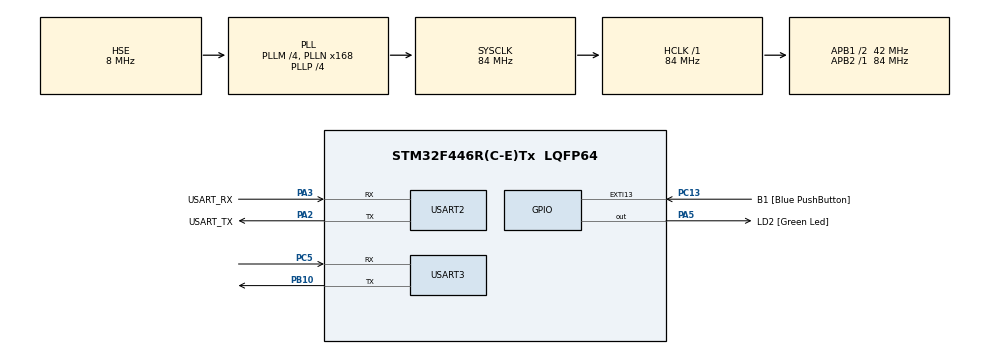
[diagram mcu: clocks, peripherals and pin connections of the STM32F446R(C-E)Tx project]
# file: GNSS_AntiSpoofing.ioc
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Mcu.Family=STM32F4
Mcu.Name=STM32F446R(C-E)Tx
Mcu.Package=LQFP64
NVIC.PriorityGroup=NVIC_PRIORITYGROUP_0
NVIC.USART2_IRQn=true\:0\:0\:false\:false\:true\:true\:true\:true
PA13.GPIO_Label=TMS
PA13.Mode=Serial_Wire
PA13.Signal=SYS_JTMS-SWDIO
PA14.GPIO_Label=TCK
PA14.Mode=Serial_Wire
PA14.Signal=SYS_JTCK-SWCLK
PA2.GPIO_Label=USART_TX
PA2.Mode=Asynchronous
PA2.Signal=USART2_TX
PA3.GPIO_Label=USART_RX
PA3.Mode=Asynchronous
PA3.Signal=USART2_RX
PA5.GPIO_Label=LD2 [Green Led]
PA5.Signal=GPIO_Output
PB10.Mode=Asynchronous
PB10.Signal=USART3_TX
PB3.GPIO_Label=SWO
PB3.Signal=SYS_JTDO-SWO
PC13.GPIO_Label=B1 [Blue PushButton]
PC13.GPIO_ModeDefaultEXTI=GPIO_MODE_IT_FALLING
PC13.Signal=GPXTI13
PC14-OSC32_IN.Mode=LSE-External-Oscillator
PC14-OSC32_IN.Signal=RCC_OSC32_IN
PC15-OSC32_OUT.Mode=LSE-External-Oscillator
PC15-OSC32_OUT.Signal=RCC_OSC32_OUT
PC5.Mode=Asynchronous
PC5.Signal=USART3_RX
PH0-OSC_IN.Mode=HSE-External-Oscillator
PH0-OSC_IN.Signal=RCC_OSC_IN
PH1-OSC_OUT.Mode=HSE-External-Oscillator
PH1-OSC_OUT.Signal=RCC_OSC_OUT
ProjectManager.HeapSize=0x200
ProjectManager.StackSize=0x400
ProjectManager.TargetToolchain=STM32CubeIDE
RCC.48MHZClocksFreq_Value=84000000
RCC.AHBFreq_Value=84000000
RCC.APB1CLKDivider=RCC_HCLK_DIV2
RCC.APB1Freq_Value=42000000
RCC.APB1TimFreq_Value=84000000
RCC.APB2Freq_Value=84000000
RCC.APB2TimFreq_Value=84000000
RCC.CortexFreq_Value=84000000
RCC.FLatency-AdvancedSettings=FLASH_LATENCY_2
RCC.HCLKFreq_Value=84000000
RCC.HSE_VALUE=8000000
RCC.HSI_VALUE=16000000
RCC.PLLM=4
RCC.PLLN=168
RCC.PLLP=RCC_PLLP_DIV4
RCC.PLLSourceVirtual=RCC_PLLSOURCE_HSE
RCC.SYSCLKFreq_VALUE=84000000
RCC.SYSCLKSource=RCC_SYSCLKSOURCE_PLLCLK
RCC.USBFreq_Value=168000000
RCC.VCOOutputFreq_Value=336000000
USART2.VirtualMode=VM_ASYNC
USART3.VirtualMode=VM_ASYNC
board=NUCLEO-F446RE

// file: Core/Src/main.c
/* USER CODE BEGIN Header */
/**
  ******************************************************************************
  * @file           : main.c
  * @brief          : Main program body
  ******************************************************************************
  * @attention
  *
  * Copyright (c) 2026 STMicroelectronics.
  * All rights reserved.
  *
  * This software is licensed under terms that can be found in the LICENSE file
  * in the root directory of this software component.
  * If no LICENSE file comes with this software, it is provided AS-IS.
  *
  ******************************************************************************
  */
/* USER CODE END Header */
#include "main.h"

/* USER CODE BEGIN Includes */
#include "utils.h"
#include "parser.h"
#include "NOVATEL_OEM615.h"
#include "GENERIC_IMU.h"
#include "navigation_solution.h"
#include "anti_spoofing.h"
/* USER CODE END Includes */

UART_HandleTypeDef huart2;
UART_HandleTypeDef huart3;

/* USER CODE BEGIN PV */
NavigationInput_t g_navigation_input = {0};
AntiSpoofingState_t g_anti_spoofing_state = {0};
static uint8_t g_rx_byte;

/* USER CODE END PV */

void SystemClock_Config(void);
static void MX_GPIO_Init(void);
static void MX_USART2_UART_Init(void);
static void MX_USART3_UART_Init(void);

int main(void)
{

  /* MCU Configuration--------------------------------------------------------*/

  /* Reset of all peripherals, Initializes the Flash interface and the Systick. */
  HAL_Init();

  /* Configure the system clock */
  SystemClock_Config();

  /* Initialize all configured peripherals */
  MX_GPIO_Init();
  MX_USART2_UART_Init();
  MX_USART3_UART_Init();
  /* USER CODE BEGIN 2 */
  HAL_UART_Receive_IT(&huart2, &g_rx_byte, 1);
  AntiSpoofing_Init(&g_anti_spoofing_state);
  /* USER CODE END 2 */

  /* Infinite loop */
  /* USER CODE BEGIN WHILE */
  while (1)
  {
	  if(g_parser_status.novatel_oem615_ready){
		  g_parser_status.novatel_oem615_ready = 0;
		  NOVATEL_OEM615_ParseTelemetry(novatel_oem615_frame, NOVATEL_OEM615_DATA_TLM_LEN, &g_navigation_input.novatel_oem615_tlm);

		  AntiSpoofing_Update(&g_anti_spoofing_state, &g_navigation_input);
		  AntiSpoofing_SendDebugUart3(&huart3, &g_anti_spoofing_state);
	  }
	  if(g_parser_status.generic_imu_ready){
		  g_parser_status.generic_imu_ready = 0;
		  GENERIC_IMU_ParseTelemetry(generic_imu_frame, GENERIC_IMU_DATA_TLM_LEN, &g_navigation_input.generic_imu_tlm);
	  }

    /* USER CODE END WHILE */

  }
}

void SystemClock_Config(void)
{
  RCC_OscInitTypeDef RCC_OscInitStruct = {0};
  RCC_ClkInitTypeDef RCC_ClkInitStruct = {0};

  /** Configure the main internal regulator output voltage
  */
  __HAL_RCC_PWR_CLK_ENABLE();
  __HAL_PWR_VOLTAGESCALING_CONFIG(PWR_REGULATOR_VOLTAGE_SCALE3);

  /** Initializes the RCC Oscillators according to the specified parameters
  * in the RCC_OscInitTypeDef structure.
  */
  RCC_OscInitStruct.OscillatorType = RCC_OSCILLATORTYPE_HSE;
  RCC_OscInitStruct.HSEState = RCC_HSE_ON;
  RCC_OscInitStruct.PLL.PLLState = RCC_PLL_ON;
  RCC_OscInitStruct.PLL.PLLSource = RCC_PLLSOURCE_HSE;
  RCC_OscInitStruct.PLL.PLLM = 4;
  RCC_OscInitStruct.PLL.PLLN = 168;
  RCC_OscInitStruct.PLL.PLLP = RCC_PLLP_DIV4;
  RCC_OscInitStruct.PLL.PLLQ = 2;
  RCC_OscInitStruct.PLL.PLLR = 2;
  if (HAL_RCC_OscConfig(&RCC_OscInitStruct) != HAL_OK)
  {
    Error_Handler();
  }

  /** Initializes the CPU, AHB and APB buses clocks
  */
  RCC_ClkInitStruct.ClockType = RCC_CLOCKTYPE_HCLK|RCC_CLOCKTYPE_SYSCLK
                              |RCC_CLOCKTYPE_PCLK1|RCC_CLOCKTYPE_PCLK2;
  RCC_ClkInitStruct.SYSCLKSource = RCC_SYSCLKSOURCE_PLLCLK;
  RCC_ClkInitStruct.AHBCLKDivider = RCC_SYSCLK_DIV1;
  RCC_ClkInitStruct.APB1CLKDivider = RCC_HCLK_DIV2;
  RCC_ClkInitStruct.APB2CLKDivider = RCC_HCLK_DIV1;

  if (HAL_RCC_ClockConfig(&RCC_ClkInitStruct, FLASH_LATENCY_2) != HAL_OK)
  {
    Error_Handler();
  }
}

static void MX_USART2_UART_Init(void)
{

  huart2.Instance = USART2;
  huart2.Init.BaudRate = 115200;
  huart2.Init.WordLength = UART_WORDLENGTH_8B;
  huart2.Init.StopBits = UART_STOPBITS_1;
  huart2.Init.Parity = UART_PARITY_NONE;
  huart2.Init.Mode = UART_MODE_TX_RX;
  huart2.Init.HwFlowCtl = UART_HWCONTROL_NONE;
  huart2.Init.OverSampling = UART_OVERSAMPLING_16;
  if (HAL_UART_Init(&huart2) != HAL_OK)
  {
    Error_Handler();
  }

}

static void MX_USART3_UART_Init(void)
{

  huart3.Instance = USART3;
  huart3.Init.BaudRate = 250000;
  huart3.Init.WordLength = UART_WORDLENGTH_8B;
  huart3.Init.StopBits = UART_STOPBITS_1;
  huart3.Init.Parity = UART_PARITY_NONE;
  huart3.Init.Mode = UART_MODE_TX_RX;
  huart3.Init.HwFlowCtl = UART_HWCONTROL_NONE;
  huart3.Init.OverSampling = UART_OVERSAMPLING_16;
  if (HAL_UART_Init(&huart3) != HAL_OK)
  {
    Error_Handler();
  }

}

static void MX_GPIO_Init(void)
{
  GPIO_InitTypeDef GPIO_InitStruct = {0};

  /* GPIO Ports Clock Enable */
  __HAL_RCC_GPIOC_CLK_ENABLE();
  __HAL_RCC_GPIOH_CLK_ENABLE();
  __HAL_RCC_GPIOA_CLK_ENABLE();
  __HAL_RCC_GPIOB_CLK_ENABLE();

  /*Configure GPIO pin Output Level */
  HAL_GPIO_WritePin(LD2_GPIO_Port, LD2_Pin, GPIO_PIN_RESET);

  /*Configure GPIO pin : B1_Pin */
  GPIO_InitStruct.Pin = B1_Pin;
  GPIO_InitStruct.Mode = GPIO_MODE_IT_FALLING;
  GPIO_InitStruct.Pull = GPIO_NOPULL;
  HAL_GPIO_Init(B1_GPIO_Port, &GPIO_InitStruct);

  /*Configure GPIO pin : LD2_Pin */
  GPIO_InitStruct.Pin = LD2_Pin;
  GPIO_InitStruct.Mode = GPIO_MODE_OUTPUT_PP;
  GPIO_InitStruct.Pull = GPIO_NOPULL;
  GPIO_InitStruct.Speed = GPIO_SPEED_FREQ_LOW;
  HAL_GPIO_Init(LD2_GPIO_Port, &GPIO_InitStruct);

}

/* USER CODE BEGIN 4 */
void HAL_UART_RxCpltCallback(UART_HandleTypeDef *huart)
{
    if (huart->Instance == USART2)
    {
    	parseRxData(g_rx_byte);
        HAL_UART_Receive_IT(&huart2, &g_rx_byte, 1);
    }
}
/* USER CODE END 4 */

void Error_Handler(void)
{
  __disable_irq();
  while (1)
  {
  }
}
